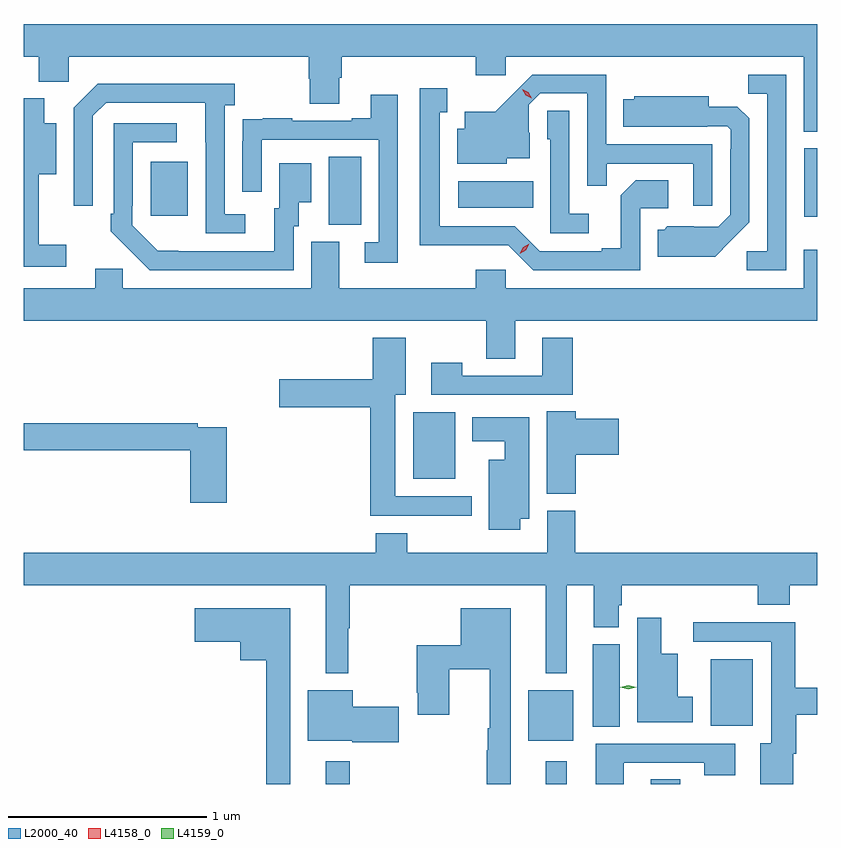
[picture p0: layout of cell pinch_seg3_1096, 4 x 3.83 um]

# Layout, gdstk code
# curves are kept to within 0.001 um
import gdstk
lib = gdstk.Library(unit=1e-6, precision=1e-09)
def R(c, l, rs):  # rectangles x0, y0, x1, y1
    for r in rs: c.add(gdstk.rectangle(r[:2], r[2:], *l))
def P(c, l, *ps):  # polygons
    for p in ps: c.add(gdstk.Polygon(p, *l))
L2000_40 = (2000, 40)
L4158_0 = (4158, 0)
L4159_0 = (4159, 0)

pinch_seg3_1096 = lib.new_cell('pinch_seg3_1096')
R(pinch_seg3_1096, L2000_40, [(318.083,715.899,318.205,716.014), (319.193,715.899,319.297,716.014), (319.721,715.899,319.869,715.922), (319.103,716.117,319.33,716.371), (319.43,716.188,319.564,716.604), (320.024,716.192,320.236,716.527), (318.524,717.437,318.736,717.772), (318.098,718.717,318.262,719.06), (320.495,718.758,320.561,719.101), (317.201,718.761,317.389,719.035), (318.75,718.802,319.13,718.936)])
P(pinch_seg3_1096, L2000_40, [(320.561,719.728),(316.561,719.728),(316.561,719.564),(316.637,719.564),(316.637,719.438),(316.788,719.438),(316.788,719.564),(317.999,719.564),(317.999,719.451),(318.004,719.451),(318.004,719.326),(318.151,719.326),(318.151,719.458),(318.164,719.458),(318.164,719.564),(318.839,719.564),(318.839,719.469),(318.99,719.469),(318.99,719.564),(320.492,719.564),(320.492,719.186),(320.561,719.186)],
  [(320.403,719.472),(320.212,719.472),(320.212,719.377),(320.307,719.377),(320.307,718.584),(320.205,718.584),(320.205,718.488),(320.403,718.488)],
  [(320.031,719.121),(319.497,719.121),(319.497,719.472),(319.124,719.472),(318.937,719.287),(318.785,719.287),(318.785,719.2),(318.746,719.2),(318.746,719.024),(318.996,719.024),(318.996,719.051),(319.111,719.051),(319.111,719.18),(319.107,719.18),(319.107,719.322),(319.164,719.379),(319.401,719.379),(319.401,718.912),(319.499,718.912),(319.499,719.025),(319.935,719.025),(319.935,718.812),(320.031,718.812)],
  [(317.677,718.77),(317.574,718.77),(317.574,719.318),(317.626,719.318),(317.626,719.428),(316.936,719.428),(316.815,719.307),(316.815,718.812),(316.911,718.812),(316.911,719.265),(316.977,719.331),(317.477,719.331),(317.478,718.674),(317.677,718.674)],
  [(319.668,718.8),(319.81,718.8),(319.81,718.94),(319.645,718.94),(319.569,718.864),(319.569,718.597),(319.475,718.597),(319.475,718.584),(319.161,718.584),(319.035,718.71),(318.658,718.71),(318.658,719.283),(318.697,719.283),(318.697,719.404),(318.557,719.404),(318.557,718.613),(319.002,718.614),(319.128,718.488),(319.668,718.488)],
  [(318.447,719.371),(318.311,719.371),(318.311,719.254),(318.215,719.254),(318.215,719.241),(317.915,719.241),(317.915,719.254),(317.767,719.254),(317.767,719.247),(317.665,719.247),(317.665,719.138),(317.664,719.138),(317.664,718.884),(317.76,718.884),(317.76,719.145),(318.351,719.145),(318.351,718.629),(318.279,718.629),(318.279,718.524),(318.447,718.524)],
  [(320.125,718.637),(320.217,718.73),(320.217,719.252),(320.158,719.311),(320.014,719.311),(320.014,719.365),(319.638,719.365),(319.638,719.35),(319.582,719.35),(319.582,719.21),(320.006,719.21),(320.006,719.214),(320.106,719.214),(320.124,719.196),(320.124,719.096),(320.121,719.096),(320.121,718.767),(320.061,718.707),(319.804,718.708),(319.788,718.692),(319.757,718.692),(319.757,718.556),(320.045,718.556)],
  [(316.777,718.615),(316.637,718.615),(316.637,718.97),(316.726,718.97),(316.726,719.227),(316.666,719.227),(316.666,719.353),(316.561,719.353),(316.561,718.506),(316.777,718.506)],
  [(319.408,718.771),(319.311,718.771),(319.311,719.291),(319.2,719.291),(319.2,719.148),(319.215,719.148),(319.215,718.674),(319.408,718.674)],
  [(317.922,718.71),(317.947,718.71),(317.947,718.829),(318.01,718.829),(318.01,719.026),(317.849,719.026),(317.849,718.8),(317.825,718.8),(317.825,718.584),(317.238,718.585),(317.109,718.713),(317.109,718.813),(317.112,718.813),(317.112,719.133),(317.332,719.133),(317.332,719.229),(317.016,719.229),(317.016,718.771),(317.001,718.771),(317.001,718.683),(317.198,718.488),(317.922,718.488)],
  [(319.039,718.232),(320.561,718.232),(320.561,718.591),(320.492,718.591),(320.492,718.396),(318.99,718.396),(318.99,718.489),(318.839,718.489),(318.839,718.396),(318.151,718.396),(318.151,718.632),(318.011,718.632),(318.011,718.396),(317.061,718.396),(317.061,718.494),(316.922,718.494),(316.922,718.396),(316.561,718.396),(316.561,718.232),(318.892,718.232),(318.892,718.042),(319.039,718.042)],
  [(319.328,718.147),(319.175,718.147),(319.175,717.957),(318.771,717.957),(318.771,718.021),(318.615,718.021),(318.615,717.861),(319.328,717.861)],
  [(318.82,717.348),(318.433,717.348),(318.433,717.86),(318.487,717.86),(318.487,718.147),(318.32,718.147),(318.32,717.939),(317.85,717.939),(317.85,717.797),(318.308,717.797),(318.308,717.251),(318.82,717.251)],
  [(319.343,717.557),(319.561,717.557),(319.561,717.74),(319.343,717.74),(319.343,717.776),(319.196,717.776),(319.196,717.361),(319.343,717.361)],
  [(319.063,717.236),(319.108,717.236),(319.108,717.748),(318.821,717.748),(318.821,717.626),(318.986,717.626),(318.986,717.532),(318.905,717.532),(318.905,717.18),(319.063,717.18)],
  [(317.585,717.696),(317.438,717.696),(317.438,717.716),(316.561,717.716),(316.561,717.58),(317.402,717.58),(317.402,717.315),(317.585,717.315)],
  [(318.197,716.684),(318.205,716.684),(318.205,716.9),(319.193,716.9),(319.193,716.456),(319.297,716.456),(319.297,716.9),(319.433,716.9),(319.433,716.689),(319.561,716.689),(319.561,716.799),(319.574,716.799),(319.574,716.9),(320.261,716.9),(320.261,716.801),(320.421,716.801),(320.421,716.9),(320.561,716.9),(320.561,717.064),(319.34,717.064),(319.34,717.276),(319.199,717.276),(319.199,717.064),(318.495,717.064),(318.495,717.163),(318.335,717.163),(318.335,717.064),(316.561,717.064),(316.561,716.9),(318.083,716.9),(318.083,716.456),(318.197,716.456)],
  [(317.905,716.785),(317.424,716.785),(317.424,716.615),(317.654,716.615),(317.654,716.522),(317.784,716.522),(317.784,715.899),(317.905,715.899)],
  [(319.015,716.785),(318.764,716.785),(318.764,716.599),(318.541,716.599),(318.541,716.359),(318.548,716.359),(318.548,716.247),(318.706,716.247),(318.706,716.477),(318.911,716.477),(318.911,716.181),(318.901,716.181),(318.901,716.069),(318.894,716.069),(318.894,715.899),(319.015,715.899)],
  [(319.933,716.338),(319.858,716.338),(319.858,716.554),(319.774,716.554),(319.774,716.737),(319.652,716.737),(319.652,716.21),(319.933,716.21)],
  [(320.44,716.051),(320.453,716.051),(320.453,716.248),(320.561,716.248),(320.561,716.384),(320.448,716.384),(320.448,716.714),(319.935,716.714),(319.935,716.616),(320.327,716.616),(320.327,716.104),(320.273,716.104),(320.273,715.899),(320.44,715.899)],
  [(318.451,716.288),(318.22,716.288),(318.22,716.371),(317.993,716.371),(317.993,716.117),(318.216,716.117),(318.216,716.11),(318.451,716.11)],
  [(319.585,716.007),(319.99,716.007),(319.99,715.944),(320.146,715.944),(320.146,716.103),(319.445,716.103),(319.445,715.899),(319.585,715.899)])
P(pinch_seg3_1096, L4158_0, [(319.122,719.353),(319.091,719.369),(319.074,719.399),(319.074,719.399),(319.074,719.399),(319.105,719.384),(319.122,719.354),(319.122,719.353)],
  [(319.06,718.57),(319.06,718.571),(319.078,718.603),(319.109,718.622),(319.11,718.622),(319.11,718.622),(319.092,718.589),(319.061,718.57)])
P(pinch_seg3_1096, L4159_0, [(319.607,716.377),(319.567,716.387),(319.567,716.387),(319.567,716.387),(319.607,716.397),(319.648,716.387),(319.648,716.386),(319.648,716.386)])

lib.write_gds('pinch_seg3_1096.gds')
